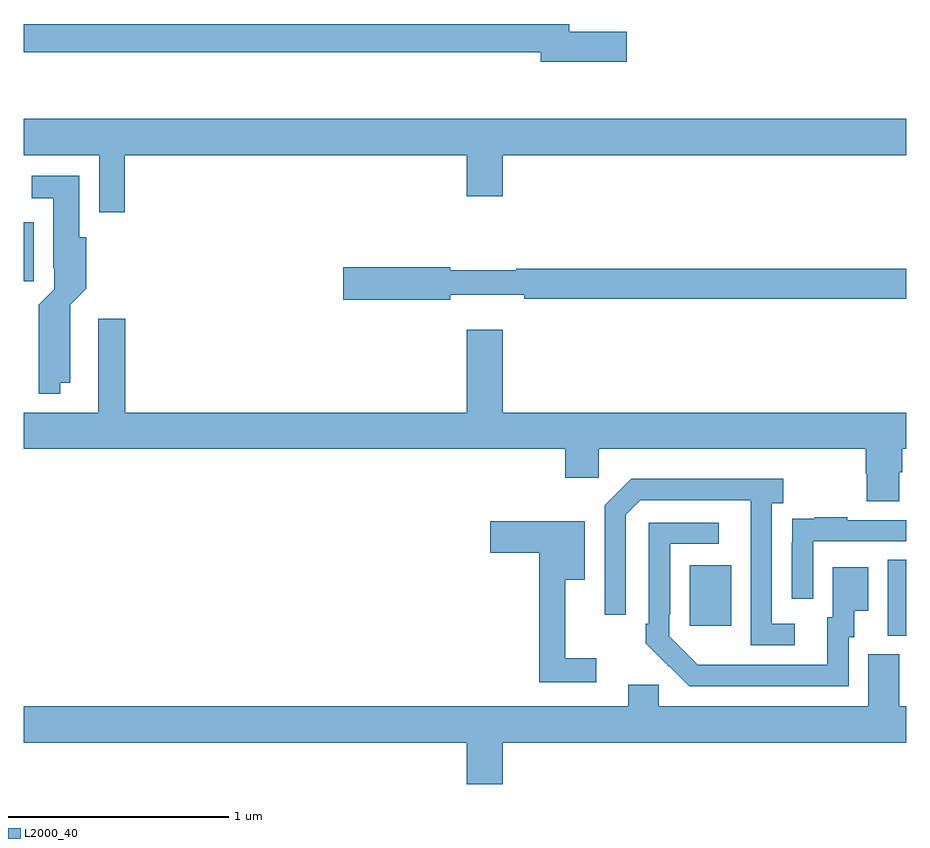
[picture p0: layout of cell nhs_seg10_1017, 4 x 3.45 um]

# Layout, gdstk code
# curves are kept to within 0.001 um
import gdstk
lib = gdstk.Library(unit=1e-6, precision=1e-09)
def R(c, l, rs):  # rectangles x0, y0, x1, y1
    for r in rs: c.add(gdstk.rectangle(r[:2], r[2:], *l))
def P(c, l, *ps):  # polygons
    for p in ps: c.add(gdstk.Polygon(p, *l))
L2000_40 = (2000, 40)

nhs_seg10_1017 = lib.new_cell('nhs_seg10_1017')
R(nhs_seg10_1017, L2000_40, [(166.916,1275.493,167,1275.836), (166.019,1275.537,166.207,1275.811), (163,1277.1,163.045,1277.367)])
P(nhs_seg10_1017, L2000_40, [(165.733,1278.23),(165.472,1278.23),(165.472,1278.266),(163,1278.266),(163,1278.138),(165.344,1278.138),(165.344,1278.095),(165.733,1278.095)],
  [(163.457,1277.672),(165.008,1277.672),(165.008,1277.484),(165.172,1277.484),(165.172,1277.672),(167,1277.672),(167,1277.836),(163,1277.836),(163,1277.672),(163.341,1277.672),(163.341,1277.412),(163.457,1277.412)],
  [(163.165,1276.64),(163.21,1276.64),(163.211,1276.994),(163.283,1277.066),(163.283,1277.298),(163.252,1277.298),(163.252,1277.578),(163.035,1277.578),(163.035,1277.477),(163.133,1277.477),(163.133,1277.158),(163.137,1277.158),(163.137,1277.064),(163.067,1276.994),(163.068,1276.589),(163.165,1276.589)],
  [(164.932,1277.039),(165.268,1277.039),(165.268,1277.02),(167,1277.02),(167,1277.156),(165.232,1277.156),(165.232,1277.149),(164.932,1277.149),(164.932,1277.162),(164.448,1277.162),(164.448,1277.015),(164.932,1277.015)],
  [(166.969,1276.234),(166.982,1276.234),(166.982,1276.34),(167,1276.34),(167,1276.504),(165.172,1276.504),(165.172,1276.879),(165.008,1276.879),(165.008,1276.504),(163.46,1276.504),(163.46,1276.93),(163.337,1276.93),(163.337,1276.504),(163,1276.504),(163,1276.34),(165.455,1276.34),(165.455,1276.209),(165.606,1276.209),(165.606,1276.34),(166.817,1276.34),(166.817,1276.227),(166.822,1276.227),(166.822,1276.102),(166.969,1276.102)],
  [(166.495,1275.546),(166.392,1275.546),(166.392,1276.094),(166.444,1276.094),(166.444,1276.204),(165.754,1276.204),(165.633,1276.083),(165.633,1275.588),(165.729,1275.588),(165.729,1276.041),(165.795,1276.107),(166.295,1276.107),(166.296,1275.45),(166.495,1275.45)],
  [(166.578,1275.921),(167,1275.921),(167,1276.017),(166.733,1276.017),(166.733,1276.03),(166.585,1276.03),(166.585,1276.023),(166.483,1276.023),(166.483,1275.914),(166.482,1275.914),(166.482,1275.66),(166.578,1275.66)],
  [(165.595,1275.391),(165.455,1275.391),(165.455,1275.746),(165.544,1275.746),(165.544,1276.011),(165.114,1276.011),(165.114,1275.869),(165.337,1275.869),(165.337,1275.282),(165.595,1275.282)],
  [(166.74,1275.486),(166.765,1275.486),(166.765,1275.605),(166.828,1275.605),(166.828,1275.802),(166.667,1275.802),(166.667,1275.576),(166.643,1275.576),(166.643,1275.36),(166.056,1275.361),(165.927,1275.489),(165.927,1275.589),(165.93,1275.589),(165.93,1275.909),(166.15,1275.909),(166.15,1276.005),(165.834,1276.005),(165.834,1275.547),(165.819,1275.547),(165.819,1275.459),(166.016,1275.264),(166.74,1275.264)],
  [(165.172,1275.008),(167,1275.008),(167,1275.172),(166.969,1275.172),(166.969,1275.408),(166.829,1275.408),(166.829,1275.172),(165.879,1275.172),(165.879,1275.27),(165.74,1275.27),(165.74,1275.172),(163,1275.172),(163,1275.008),(165.008,1275.008),(165.008,1274.82),(165.172,1274.82)])

lib.write_gds('nhs_seg10_1017.gds')
